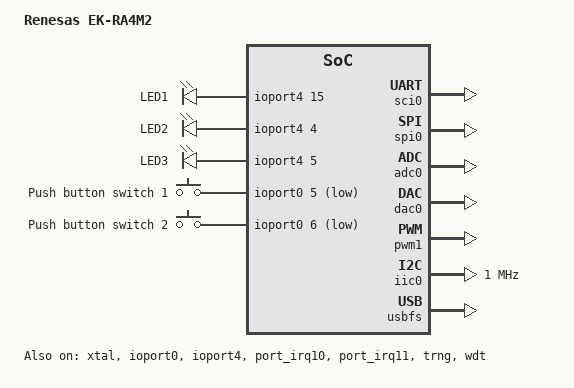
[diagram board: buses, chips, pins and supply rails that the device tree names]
/*
 * Copyright (c) 2024-2025 Renesas Electronics Corporation
 * SPDX-License-Identifier: Apache-2.0
 */

/dts-v1/;

#include <renesas/ra/ra4/r7fa4m2ad3cfp.dtsi>
#include <dt-bindings/gpio/gpio.h>
#include <dt-bindings/input/input-event-codes.h>
#include <zephyr/dt-bindings/adc/adc.h>
#include "ek_ra4m2-pinctrl.dtsi"

/ {
	model = "Renesas EK-RA4M2";
	compatible = "renesas,ra4m2", "renesas,ra";

	chosen {
		zephyr,sram = &sram0;
		zephyr,flash-controller = &flash1;
		zephyr,flash = &flash0;
		zephyr,console = &uart0;
		zephyr,shell-uart = &uart0;
		zephyr,entropy = &trng;
	};

	leds {
		compatible = "gpio-leds";
		led1: led1 {
			gpios = <&ioport4 15 GPIO_ACTIVE_HIGH>;
			label = "LED1";
		};
		led2: led2 {
			gpios = <&ioport4 4 GPIO_ACTIVE_HIGH>;
			label = "LED2";
		};
		led3: led3 {
			gpios = <&ioport4 5 GPIO_ACTIVE_HIGH>;
			label = "LED3";
		};
	};

	buttons {
		compatible = "gpio-keys";
		button0: s1 {
			gpios = <&ioport0 5 (GPIO_PULL_UP | GPIO_ACTIVE_LOW)>;
			label = "Push button switch 1";
			zephyr,code = <INPUT_KEY_0>;
		};
		button1: s2 {
			gpios = <&ioport0 6 (GPIO_PULL_UP | GPIO_ACTIVE_LOW)>;
			label = "Push button switch 2";
			zephyr,code = <INPUT_KEY_1>;
		};
	};

	aliases {
		led0 = &led1;
		sw0 = &button0;
		sw1 = &button1;
		watchdog0 = &wdt;
	};
};

&xtal {
	clock-frequency = <DT_FREQ_M(24)>;
	mosel = <0>;
	#clock-cells = <0>;
	status = "okay";
};

&subclk {
	status = "okay";
};

&pll {
	clocks = <&xtal>;
	div = <3>;
	mul = <25 0>;
	status = "okay";
};

&pll2 {
	clocks = <&xtal>;
	div = <2>;
	mul = <20 0>;
	status = "okay";
};

&uclk {
	clocks = <&pll2>;
	div = <5>;
	status = "okay";
};

&sci0 {
	pinctrl-0 = <&sci0_default>;
	pinctrl-names = "default";
	status = "okay";
	uart0: uart {
		current-speed = <115200>;
		status = "okay";
	};
};

&ioport0 {
	status = "okay";
};

&ioport4 {
	status = "okay";
};

&spi0 {
	pinctrl-0 = <&spi0_default>;
	pinctrl-names = "default";
	status = "okay";
};

&adc0 {
	status = "okay";
	pinctrl-0 = <&adc0_default>;
	pinctrl-names = "default";
};

&dac0 {
	pinctrl-0 = <&dac0_default>;
	pinctrl-names = "default";
	status = "okay";
};

&port_irq10 {
	interrupts = <41 12>;
	status = "okay";
};

&port_irq11 {
	interrupts = <42 12>;
	status = "okay";
};

&pwm1 {
	pinctrl-0 = <&pwm1_default>;
	pinctrl-names = "default";
	interrupts = <63 1>, <64 1>;
	interrupt-names = "gtioca", "overflow";
	status = "okay";
};

&iic0 {
	pinctrl-0 = <&iic0_default>;
	pinctrl-names = "default";
	#address-cells = <1>;
	#size-cells = <0>;
	clock-frequency = <DT_FREQ_M(1)>;
	interrupts = <87 1>, <88 1>, <89 1>, <90 1>;
	interrupt-names = "rxi", "txi", "tei", "eri";
	status = "okay";
};

&flash1 {
	partitions {
		compatible = "fixed-partitions";
		#address-cells = <1>;
		#size-cells = <1>;

		storage_partition: partition@0 {
			label = "storage";
			reg = <0X0 DT_SIZE_K(8)>;
		};
	};
};

&trng {
	status = "okay";
};

&usbfs {
	pinctrl-0 = <&usbfs_default>;
	pinctrl-names = "default";
	maximum-speed = "full-speed";
	status = "okay";
	zephyr_udc0: udc {
		status = "okay";
	};
};

&wdt {
	status = "okay";
};
